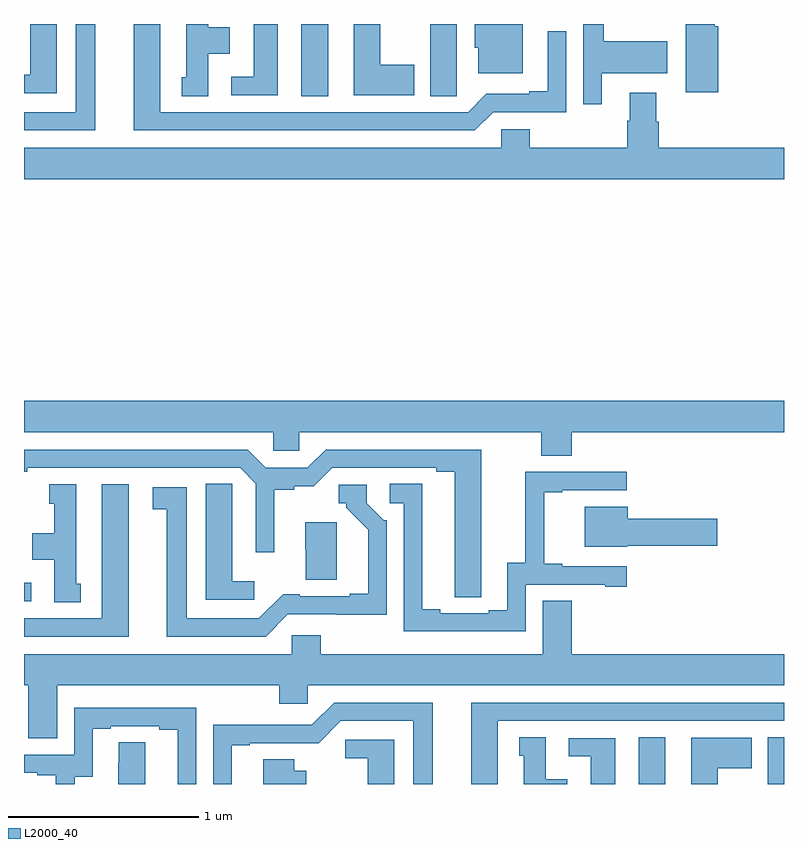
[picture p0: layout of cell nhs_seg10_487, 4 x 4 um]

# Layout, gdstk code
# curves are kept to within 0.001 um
import gdstk
lib = gdstk.Library(unit=1e-6, precision=1e-09)
def R(c, l, rs):  # rectangles x0, y0, x1, y1
    for r in rs: c.add(gdstk.rectangle(r[:2], r[2:], *l))
def P(c, l, *ps):  # polygons
    for p in ps: c.add(gdstk.Polygon(p, *l))
L2000_40 = (2000, 40)

nhs_seg10_487 = lib.new_cell('nhs_seg10_487')
R(nhs_seg10_487, L2000_40, [(138.236,1262.5,138.376,1262.747), (138.914,1262.5,139,1262.747), (135,1263.462,135.037,1263.558), (136.46,1266.121,136.6,1266.5)])
P(nhs_seg10_487, L2000_40, [(138.04,1266.242),(138.385,1266.242),(138.385,1266.408),(138.052,1266.408),(138.052,1266.5),(137.943,1266.5),(137.943,1266.078),(138.04,1266.078)],
  [(137.626,1266.5),(137.372,1266.5),(137.372,1266.375),(137.39,1266.375),(137.39,1266.242),(137.626,1266.242)],
  [(137.469,1266.036),(137.853,1266.036),(137.853,1266.463),(137.756,1266.463),(137.756,1266.145),(137.66,1266.145),(137.66,1266.132),(137.433,1266.132),(137.337,1266.036),(135.718,1266.036),(135.718,1266.5),(135.578,1266.5),(135.578,1265.94),(137.373,1265.94)],
  [(137.053,1266.285),(136.876,1266.285),(136.876,1266.5),(136.736,1266.5),(136.736,1266.125),(137.053,1266.125)],
  [(135.97,1266.344),(136.084,1266.344),(136.084,1266.484),(135.97,1266.484),(135.97,1266.5),(135.854,1266.5),(135.854,1266.219),(135.83,1266.219),(135.83,1266.121),(135.97,1266.121)],
  [(138.653,1266.489),(138.635,1266.489),(138.635,1266.5),(138.482,1266.5),(138.482,1266.141),(138.653,1266.141)],
  [(135.172,1266.5),(135.032,1266.5),(135.032,1266.232),(135,1266.232),(135,1266.135),(135.172,1266.135)],
  [(135.376,1266.5),(135.272,1266.5),(135.272,1266.036),(135,1266.036),(135,1265.94),(135.376,1265.94)],
  [(137.277,1266.232),(137.278,1266.232),(137.278,1266.5),(137.138,1266.5),(137.138,1266.121),(137.277,1266.121)],
  [(136.336,1266.5),(136.208,1266.5),(136.208,1266.222),(136.092,1266.222),(136.092,1266.126),(136.336,1266.126)],
  [(138.328,1265.985),(138.328,1266.139),(138.188,1266.139),(138.188,1265.99),(138.176,1265.99),(138.176,1265.848),(137.663,1265.848),(137.663,1265.946),(137.511,1265.946),(137.511,1265.848),(135,1265.848),(135,1265.684),(139,1265.684),(139,1265.848),(138.341,1265.848),(138.341,1265.985)],
  [(137.882,1264.352),(139,1264.352),(139,1264.516),(135,1264.516),(135,1264.352),(136.311,1264.352),(136.311,1264.254),(136.449,1264.254),(136.449,1264.352),(137.722,1264.352),(137.722,1264.228),(137.882,1264.228)],
  [(137.406,1263.592),(137.407,1264.26),(136.587,1264.26),(136.491,1264.164),(136.273,1264.164),(136.177,1264.26),(135,1264.26),(135,1264.144),(135.016,1264.144),(135.016,1264.164),(136.137,1264.164),(136.221,1264.08),(136.221,1263.72),(136.318,1263.72),(136.318,1264.048),(136.422,1264.048),(136.422,1264.067),(136.526,1264.067),(136.623,1264.164),(137.171,1264.164),(137.171,1264.144),(137.267,1264.144),(137.267,1263.484),(137.406,1263.484)],
  [(137.64,1263.549),(138.059,1263.549),(138.059,1263.537),(138.172,1263.537),(138.172,1263.645),(137.833,1263.645),(137.833,1263.658),(137.738,1263.658),(137.738,1264.035),(137.833,1264.035),(137.833,1264.047),(138.172,1264.047),(138.172,1264.143),(137.638,1264.143),(137.638,1263.665),(137.543,1263.665),(137.543,1263.414),(137.447,1263.414),(137.447,1263.399),(137.191,1263.399),(137.191,1263.419),(137.095,1263.419),(137.095,1264.079),(136.926,1264.079),(136.926,1263.978),(136.998,1263.978),(136.998,1263.303),(137.64,1263.303)],
  [(136.213,1263.568),(136.096,1263.568),(136.096,1263.971),(136.095,1263.971),(136.095,1264.079),(135.956,1264.079),(135.956,1263.471),(136.213,1263.471)],
  [(135.55,1264.078),(135.41,1264.078),(135.41,1263.372),(135,1263.372),(135,1263.276),(135.55,1263.276)],
  [(135.298,1263.555),(135.274,1263.555),(135.274,1264.078),(135.134,1264.078),(135.134,1263.975),(135.158,1263.975),(135.158,1263.82),(135.044,1263.82),(135.044,1263.68),(135.158,1263.68),(135.158,1263.457),(135.298,1263.457)],
  [(136.389,1263.393),(136.908,1263.392),(136.908,1263.888),(136.893,1263.888),(136.803,1263.978),(136.803,1264.074),(136.656,1264.074),(136.656,1263.978),(136.695,1263.978),(136.695,1263.955),(136.811,1263.838),(136.811,1263.502),(136.715,1263.502),(136.715,1263.489),(136.45,1263.489),(136.45,1263.5),(136.364,1263.5),(136.236,1263.372),(135.856,1263.372),(135.856,1264.062),(135.678,1264.062),(135.678,1263.946),(135.752,1263.946),(135.752,1263.276),(136.272,1263.276)],
  [(138.174,1263.755),(138.649,1263.755),(138.649,1263.897),(138.178,1263.897),(138.178,1263.958),(137.951,1263.958),(137.951,1263.749),(138.174,1263.749)],
  [(136.645,1263.877),(136.481,1263.877),(136.481,1263.732),(136.483,1263.732),(136.483,1263.574),(136.645,1263.574)],
  [(135.175,1263.02),(136.343,1263.02),(136.343,1262.922),(136.494,1262.922),(136.494,1263.02),(139,1263.02),(139,1263.184),(137.882,1263.184),(137.882,1263.464),(137.729,1263.464),(137.729,1263.184),(136.562,1263.184),(136.562,1263.282),(136.41,1263.282),(136.41,1263.184),(135,1263.184),(135,1263.02),(135.023,1263.02),(135.023,1262.74),(135.175,1262.74)],
  [(136.093,1262.703),(136.189,1262.703),(136.189,1262.715),(136.55,1262.714),(136.668,1262.832),(137.048,1262.832),(137.048,1262.5),(137.152,1262.5),(137.152,1262.928),(136.632,1262.928),(136.515,1262.811),(136.259,1262.811),(136.259,1262.813),(135.996,1262.813),(135.996,1262.5),(136.093,1262.5)],
  [(137.494,1262.832),(139,1262.832),(139,1262.928),(137.354,1262.928),(137.354,1262.5),(137.494,1262.5)],
  [(135.267,1262.539),(135.361,1262.539),(135.361,1262.79),(135.457,1262.79),(135.457,1262.805),(135.713,1262.805),(135.713,1262.785),(135.809,1262.785),(135.809,1262.5),(135.906,1262.5),(135.906,1262.901),(135.264,1262.901),(135.264,1262.655),(135,1262.655),(135,1262.559),(135.071,1262.559),(135.071,1262.547),(135.167,1262.547),(135.167,1262.5),(135.267,1262.5)],
  [(137.86,1262.524),(137.746,1262.524),(137.746,1262.747),(137.606,1262.747),(137.606,1262.649),(137.63,1262.649),(137.63,1262.5),(137.86,1262.5)],
  [(138.652,1262.584),(138.829,1262.584),(138.829,1262.743),(138.512,1262.743),(138.512,1262.5),(138.652,1262.5)],
  [(138.112,1262.742),(137.868,1262.742),(137.868,1262.646),(137.984,1262.646),(137.984,1262.5),(138.112,1262.5)],
  [(136.948,1262.733),(136.692,1262.733),(136.692,1262.636),(136.808,1262.636),(136.808,1262.5),(136.948,1262.5)],
  [(135.637,1262.72),(135.498,1262.72),(135.498,1262.612),(135.497,1262.612),(135.497,1262.5),(135.637,1262.5)],
  [(136.486,1262.569),(136.423,1262.569),(136.423,1262.63),(136.259,1262.63),(136.259,1262.5),(136.486,1262.5)])

lib.write_gds('nhs_seg10_487.gds')
